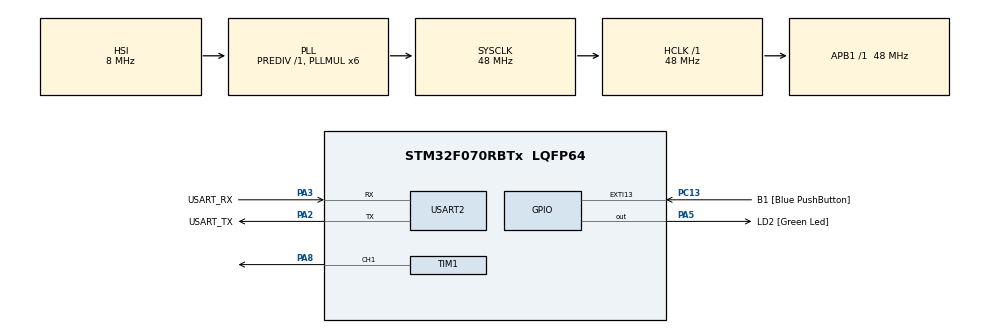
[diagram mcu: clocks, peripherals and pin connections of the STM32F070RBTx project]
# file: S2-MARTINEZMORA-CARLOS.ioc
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FREERTOS.Tasks01=LED,8,128,blink,Default,NULL,Dynamic,NULL,NULL;BUTTON,24,128,check_status,Default,NULL,Dynamic,NULL,NULL
FREERTOS.configUSE_NEWLIB_REENTRANT=1
Mcu.Family=STM32F0
Mcu.Name=STM32F070RBTx
Mcu.Package=LQFP64
NVIC.TIM6_IRQn=true\:3\:0\:false\:false\:true\:false\:false\:true\:true
NVIC.TimeBase=TIM6_IRQn
NVIC.TimeBaseIP=TIM6
PA13.GPIO_Label=TMS
PA13.Mode=Serial_Wire
PA13.Signal=SYS_SWDIO
PA14.GPIO_Label=TCK
PA14.Mode=Serial_Wire
PA14.Signal=SYS_SWCLK
PA2.GPIO_Label=USART_TX
PA2.Mode=Asynchronous
PA2.Signal=USART2_TX
PA3.GPIO_Label=USART_RX
PA3.Mode=Asynchronous
PA3.Signal=USART2_RX
PA5.GPIO_Label=LD2 [Green Led]
PA5.Signal=GPIO_Output
PA8.Signal=S_TIM1_CH1
PC13.GPIO_Label=B1 [Blue PushButton]
PC13.GPIO_ModeDefaultEXTI=GPIO_MODE_IT_FALLING
PC13.Signal=GPXTI13
PC14-OSC32_IN.GPIO_Label=RCC_OSC32_IN
PC14-OSC32_IN.Mode=LSE-External-Oscillator
PC14-OSC32_IN.Signal=RCC_OSC32_IN
PC15-OSC32_OUT.GPIO_Label=RCC_OSC32_OUT
PC15-OSC32_OUT.Mode=LSE-External-Oscillator
PC15-OSC32_OUT.Signal=RCC_OSC32_OUT
PF0-OSC_IN.GPIO_Label=RCC_OSC_IN
PF0-OSC_IN.Mode=HSE-External-Clock-Source
PF0-OSC_IN.Signal=RCC_OSC_IN
PF1-OSC_OUT.GPIO_Label=RCC_OSC_OUT
PF1-OSC_OUT.Signal=RCC_OSC_OUT
ProjectManager.HeapSize=0x200
ProjectManager.StackSize=0x400
ProjectManager.TargetToolchain=STM32CubeIDE
RCC.AHBFreq_Value=48000000
RCC.APB1Freq_Value=48000000
RCC.APB1TimFreq_Value=48000000
RCC.HCLKFreq_Value=48000000
RCC.PLLMUL=RCC_PLL_MUL6
RCC.SYSCLKFreq_VALUE=48000000
RCC.SYSCLKSource=RCC_SYSCLKSOURCE_PLLCLK
SH.S_TIM1_CH1.0=TIM1_CH1,PWM Generation1 CH1
TIM1.Channel-PWM\ Generation1\ CH1=TIM_CHANNEL_1
TIM1.Period=2000
TIM1.Prescaler=480
USART2.VirtualMode-Asynchronous=VM_ASYNC
VP_FREERTOS_VS_CMSIS_V2.Mode=CMSIS_V2
VP_SYS_VS_tim6.Mode=TIM6
VP_TIM1_VS_ClockSourceINT.Mode=Internal
board=NUCLEO-F070RB

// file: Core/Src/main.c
/* USER CODE BEGIN Header */
/**
  ******************************************************************************
  * @file           : main.c
  * @brief          : Main program body
  ******************************************************************************
  * @attention
  *
  *
  *                                       STM32F070RB
  *                                    -----------------
  *                               /|\ |                 |
  *                                |  |                 |
  *                                ---|RST              |
  *                                   |                 |
  *                                   |                 |
  *                                   |                 |
  *                  +-|10k|---|LED| -|PA8              |
  *                  |                |                 |
  *                 \|/
  *                 GND
  *
  * Octubre 2022
  * C. Martinez <carmarmor5@alum.us.es>
  *
  *
  * Copyright (c) 2022 STMicroelectronics.
  * All rights reserved.
  *
  * This software is licensed under terms that can be found in the LICENSE file
  * in the root directory of this software component.
  * If no LICENSE file comes with this software, it is provided AS-IS.
  *
  ******************************************************************************
  */
/* USER CODE END Header */
#include "main.h"
#include "cmsis_os.h"

/* USER CODE BEGIN Includes */
#include <stdbool.h>

/* USER CODE END Includes */

TIM_HandleTypeDef htim1;

UART_HandleTypeDef huart2;

/* Definitions for LED */
osThreadId_t LEDHandle;
const osThreadAttr_t LED_attributes = {
  .name = "LED",
  .stack_size = 128 * 4,
  .priority = (osPriority_t) osPriorityLow,
};
/* Definitions for BUTTON */
osThreadId_t BUTTONHandle;
const osThreadAttr_t BUTTON_attributes = {
  .name = "BUTTON",
  .stack_size = 128 * 4,
  .priority = (osPriority_t) osPriorityNormal,
};
/* USER CODE BEGIN PV */
enum patrones {
	patron_1, patron_2, patron_3
};

enum patrones patron_activo;
static bool primera_vez = true;
static int Duty_Cycle = 0;
static int parpadeo = 0;
static bool up = true;
static bool PWM_On = true;

/* USER CODE END PV */

void SystemClock_Config(void);
static void MX_GPIO_Init(void);
static void MX_USART2_UART_Init(void);
static void MX_TIM1_Init(void);
void blink(void *argument);
void check_status(void *argument);

/* USER CODE BEGIN PFP */
static int debounce(GPIO_TypeDef *GPIOx, uint16_t GPIO_Pin);
static void PA8_Init();

/* USER CODE END PFP */

int main(void)
{

  /* MCU Configuration--------------------------------------------------------*/

  /* Reset of all peripherals, Initializes the Flash interface and the Systick. */
  HAL_Init();

  /* Configure the system clock */
  SystemClock_Config();

  /* Initialize all configured peripherals */
  MX_GPIO_Init();
  MX_USART2_UART_Init();
  MX_TIM1_Init();

  /* Init scheduler */
  osKernelInitialize();

  /* Create the thread(s) */
  /* creation of LED */
  LEDHandle = osThreadNew(blink, NULL, &LED_attributes);

  /* creation of BUTTON */
  BUTTONHandle = osThreadNew(check_status, NULL, &BUTTON_attributes);

  /* Start scheduler */
  osKernelStart();

  /* We should never get here as control is now taken by the scheduler */
  /* Infinite loop */
  while (1)
  {

  }
}

void SystemClock_Config(void)
{
  RCC_OscInitTypeDef RCC_OscInitStruct = {0};
  RCC_ClkInitTypeDef RCC_ClkInitStruct = {0};

  /** Initializes the RCC Oscillators according to the specified parameters
  * in the RCC_OscInitTypeDef structure.
  */
  RCC_OscInitStruct.OscillatorType = RCC_OSCILLATORTYPE_HSI;
  RCC_OscInitStruct.HSIState = RCC_HSI_ON;
  RCC_OscInitStruct.HSICalibrationValue = RCC_HSICALIBRATION_DEFAULT;
  RCC_OscInitStruct.PLL.PLLState = RCC_PLL_ON;
  RCC_OscInitStruct.PLL.PLLSource = RCC_PLLSOURCE_HSI;
  RCC_OscInitStruct.PLL.PLLMUL = RCC_PLL_MUL6;
  RCC_OscInitStruct.PLL.PREDIV = RCC_PREDIV_DIV1;
  if (HAL_RCC_OscConfig(&RCC_OscInitStruct) != HAL_OK)
  {
    Error_Handler();
  }

  /** Initializes the CPU, AHB and APB buses clocks
  */
  RCC_ClkInitStruct.ClockType = RCC_CLOCKTYPE_HCLK|RCC_CLOCKTYPE_SYSCLK
                              |RCC_CLOCKTYPE_PCLK1;
  RCC_ClkInitStruct.SYSCLKSource = RCC_SYSCLKSOURCE_PLLCLK;
  RCC_ClkInitStruct.AHBCLKDivider = RCC_SYSCLK_DIV1;
  RCC_ClkInitStruct.APB1CLKDivider = RCC_HCLK_DIV1;

  if (HAL_RCC_ClockConfig(&RCC_ClkInitStruct, FLASH_LATENCY_1) != HAL_OK)
  {
    Error_Handler();
  }
}

static void MX_TIM1_Init(void)
{

  TIM_ClockConfigTypeDef sClockSourceConfig = {0};
  TIM_MasterConfigTypeDef sMasterConfig = {0};
  TIM_OC_InitTypeDef sConfigOC = {0};
  TIM_BreakDeadTimeConfigTypeDef sBreakDeadTimeConfig = {0};

  htim1.Instance = TIM1;
  htim1.Init.Prescaler = 480;
  htim1.Init.CounterMode = TIM_COUNTERMODE_UP;
  htim1.Init.Period = 2000;
  htim1.Init.ClockDivision = TIM_CLOCKDIVISION_DIV1;
  htim1.Init.RepetitionCounter = 0;
  htim1.Init.AutoReloadPreload = TIM_AUTORELOAD_PRELOAD_DISABLE;
  if (HAL_TIM_Base_Init(&htim1) != HAL_OK)
  {
    Error_Handler();
  }
  sClockSourceConfig.ClockSource = TIM_CLOCKSOURCE_INTERNAL;
  if (HAL_TIM_ConfigClockSource(&htim1, &sClockSourceConfig) != HAL_OK)
  {
    Error_Handler();
  }
  if (HAL_TIM_PWM_Init(&htim1) != HAL_OK)
  {
    Error_Handler();
  }
  sMasterConfig.MasterOutputTrigger = TIM_TRGO_RESET;
  sMasterConfig.MasterSlaveMode = TIM_MASTERSLAVEMODE_DISABLE;
  if (HAL_TIMEx_MasterConfigSynchronization(&htim1, &sMasterConfig) != HAL_OK)
  {
    Error_Handler();
  }
  sConfigOC.OCMode = TIM_OCMODE_PWM1;
  sConfigOC.Pulse = 0;
  sConfigOC.OCPolarity = TIM_OCPOLARITY_HIGH;
  sConfigOC.OCNPolarity = TIM_OCNPOLARITY_HIGH;
  sConfigOC.OCFastMode = TIM_OCFAST_DISABLE;
  sConfigOC.OCIdleState = TIM_OCIDLESTATE_RESET;
  sConfigOC.OCNIdleState = TIM_OCNIDLESTATE_RESET;
  if (HAL_TIM_PWM_ConfigChannel(&htim1, &sConfigOC, TIM_CHANNEL_1) != HAL_OK)
  {
    Error_Handler();
  }
  sBreakDeadTimeConfig.OffStateRunMode = TIM_OSSR_DISABLE;
  sBreakDeadTimeConfig.OffStateIDLEMode = TIM_OSSI_DISABLE;
  sBreakDeadTimeConfig.LockLevel = TIM_LOCKLEVEL_OFF;
  sBreakDeadTimeConfig.DeadTime = 0;
  sBreakDeadTimeConfig.BreakState = TIM_BREAK_DISABLE;
  sBreakDeadTimeConfig.BreakPolarity = TIM_BREAKPOLARITY_HIGH;
  sBreakDeadTimeConfig.AutomaticOutput = TIM_AUTOMATICOUTPUT_DISABLE;
  if (HAL_TIMEx_ConfigBreakDeadTime(&htim1, &sBreakDeadTimeConfig) != HAL_OK)
  {
    Error_Handler();
  }
  HAL_TIM_MspPostInit(&htim1);

}

static void MX_USART2_UART_Init(void)
{

  huart2.Instance = USART2;
  huart2.Init.BaudRate = 38400;
  huart2.Init.WordLength = UART_WORDLENGTH_8B;
  huart2.Init.StopBits = UART_STOPBITS_1;
  huart2.Init.Parity = UART_PARITY_NONE;
  huart2.Init.Mode = UART_MODE_TX_RX;
  huart2.Init.HwFlowCtl = UART_HWCONTROL_NONE;
  huart2.Init.OverSampling = UART_OVERSAMPLING_16;
  huart2.Init.OneBitSampling = UART_ONE_BIT_SAMPLE_DISABLE;
  huart2.AdvancedInit.AdvFeatureInit = UART_ADVFEATURE_NO_INIT;
  if (HAL_UART_Init(&huart2) != HAL_OK)
  {
    Error_Handler();
  }

}

static void MX_GPIO_Init(void)
{
  GPIO_InitTypeDef GPIO_InitStruct = {0};

  /* GPIO Ports Clock Enable */
  __HAL_RCC_GPIOC_CLK_ENABLE();
  __HAL_RCC_GPIOF_CLK_ENABLE();
  __HAL_RCC_GPIOA_CLK_ENABLE();

  /*Configure GPIO pin Output Level */
  HAL_GPIO_WritePin(LD2_GPIO_Port, LD2_Pin, GPIO_PIN_RESET);

  /*Configure GPIO pin : B1_Pin */
  GPIO_InitStruct.Pin = B1_Pin;
  GPIO_InitStruct.Mode = GPIO_MODE_IT_FALLING;
  GPIO_InitStruct.Pull = GPIO_NOPULL;
  HAL_GPIO_Init(B1_GPIO_Port, &GPIO_InitStruct);

  /*Configure GPIO pin : LD2_Pin */
  GPIO_InitStruct.Pin = LD2_Pin;
  GPIO_InitStruct.Mode = GPIO_MODE_OUTPUT_PP;
  GPIO_InitStruct.Pull = GPIO_NOPULL;
  GPIO_InitStruct.Speed = GPIO_SPEED_FREQ_LOW;
  HAL_GPIO_Init(LD2_GPIO_Port, &GPIO_InitStruct);

}

/* USER CODE BEGIN 4 */

/*Configure GPIO pins : LD2_Pin PA8 */
static void PA8_Init() {
	GPIO_InitTypeDef GPIO_InitStruct = { 0 };

	GPIO_InitStruct.Pin = LD2_Pin | GPIO_PIN_8;
	GPIO_InitStruct.Mode = GPIO_MODE_OUTPUT_PP;
	GPIO_InitStruct.Pull = GPIO_NOPULL;
	GPIO_InitStruct.Speed = GPIO_SPEED_FREQ_LOW;
	HAL_GPIO_Init(GPIOA, &GPIO_InitStruct);
}

static int debounce(GPIO_TypeDef *GPIOx, uint16_t GPIO_Pin) {
	static uint16_t rebote = 0;

	rebote = (rebote << 1) | HAL_GPIO_ReadPin(GPIOx, GPIO_Pin) | 0xfe00;
	return (rebote <= 0xfff0);
}

/* USER CODE END 4 */

void blink(void *argument)
{
  /* USER CODE BEGIN 5 */
	patron_activo = patron_1;
	static int i = 0;
	static int j = 0;

	/* Infinite loop */
	for(;;)
	{
		if (patron_activo != patron_2 && PWM_On) {
			HAL_TIM_PWM_Stop(&htim1, TIM_CHANNEL_1);
			PA8_Init();
			PWM_On = false;
		}
		switch (patron_activo) {
		case patron_1: {
			if (primera_vez) {
				primera_vez = false;

				HAL_GPIO_WritePin(GPIOA, GPIO_PIN_5, GPIO_PIN_SET);
				osDelay(250);
				HAL_GPIO_WritePin(GPIOA, GPIO_PIN_5, GPIO_PIN_RESET);\
				osDelay(250);
			}

			if (i < 6 && j == 0) {
				i++;
				HAL_GPIO_TogglePin(GPIOA, GPIO_PIN_8);
				osDelay(250);
			} else {
				i = 0;
			}
			if (j < 4 && i == 0) {
				j++;
				HAL_GPIO_TogglePin(GPIOA, GPIO_PIN_8);
				osDelay(500);
			} else {
				j = 0;
			}

			break;

		}
		case patron_2: {
			if (primera_vez) {
				primera_vez = false;

				for (int i = 0; i < 4; i++) {
					HAL_GPIO_TogglePin(GPIOA, GPIO_PIN_5);
					osDelay(250);
				}
				MX_TIM1_Init();
				HAL_TIM_PWM_Start(&htim1, TIM_CHANNEL_1);
				PWM_On = true;
			}

			if (Duty_Cycle < 2000 && up == true) {
				__HAL_TIM_SET_COMPARE(&htim1, TIM_CHANNEL_1, Duty_Cycle);
				Duty_Cycle += 10;
				osDelay(3);
			} else {
				up = false;
			}

			if (Duty_Cycle > 0 && up == false) {
				__HAL_TIM_SET_COMPARE(&htim1, TIM_CHANNEL_1, Duty_Cycle);
				Duty_Cycle -= 10;
				osDelay(3);
			} else {
				up = true;
			}

			break;

		}
		case patron_3: {
			if (primera_vez) {
				primera_vez = false;

				for (int i = 0; i < 6; i++) {
					HAL_GPIO_TogglePin(GPIOA, GPIO_PIN_5);
					osDelay(250);
				}
			}

			if (parpadeo < 250 && up == true) {
				HAL_GPIO_TogglePin(GPIOA, GPIO_PIN_8);
				parpadeo += 10;
				osDelay(parpadeo);
				HAL_GPIO_TogglePin(GPIOA, GPIO_PIN_8);
				osDelay(parpadeo);
			} else {
				up = false;
			}

			if (parpadeo > 0 && up == false) {
				HAL_GPIO_TogglePin(GPIOA, GPIO_PIN_8);
				parpadeo -= 10;
				osDelay(parpadeo);
				HAL_GPIO_TogglePin(GPIOA, GPIO_PIN_8);
				osDelay(parpadeo);
			} else {
				up = true;
			}

			break;

		}
		default: {

			break;

		}
		}
		osDelay(1);
	}
  /* USER CODE END 5 */
}

void check_status(void *argument)
{
  /* USER CODE BEGIN check_status */
	/* Infinite loop */
	for(;;)
	{
		if(debounce(GPIOC, GPIO_PIN_13))
		{
			while(debounce(GPIOC, GPIO_PIN_13));
			if (patron_activo == patron_3)
			{
				patron_activo = patron_1;
			}
			else
			{
				patron_activo = (patron_activo + 1);
			}

			primera_vez = true;
		}
		osDelay(20);
	}
  /* USER CODE END check_status */
}

void HAL_TIM_PeriodElapsedCallback(TIM_HandleTypeDef *htim)
{
  if (htim->Instance == TIM6) {
    HAL_IncTick();
  }
}

void Error_Handler(void)
{
  __disable_irq();
  while (1)
  {
  }
}
